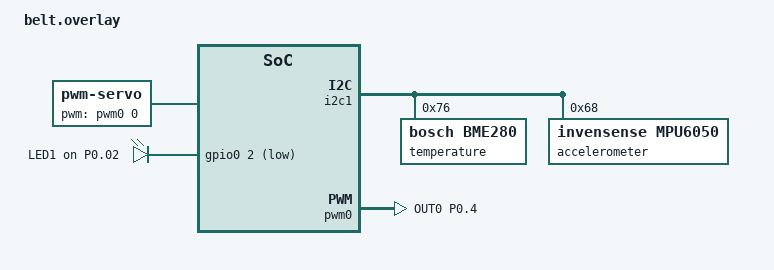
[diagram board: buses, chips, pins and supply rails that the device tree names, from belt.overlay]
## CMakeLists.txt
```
# SPDX-License-Identifier: Apache-2.0

cmake_minimum_required(VERSION 3.20.0)
find_package(Zephyr REQUIRED HINTS $ENV{ZEPHYR_BASE})
project(HACKATHON)

# Include directory
target_include_directories(app PRIVATE ${CMAKE_CURRENT_SOURCE_DIR}/includes)

# Add your include directory
zephyr_include_directories(${CMAKE_CURRENT_SOURCE_DIR}/includes)

FILE(GLOB app_sources src/*.c)
target_sources(app PRIVATE ${app_sources})
```

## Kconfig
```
# Copyright (c) 2020, Nordic Semiconductor ASA
# SPDX-License-Identifier: Apache-2.0

config LOG
	default y

config LOG_PRINTK
	default y

config SENSOR_LOG_LEVEL
	default 4

# Enable SPI and I2C support by default so that the sample works with
# the device connected either way. These defaults can be overridden if
# needed.
config SPI
	default y

config I2C
	default y

# ═══════════════════════════════════════════════════════════════
# MQTT Settings
# ═══════════════════════════════════════════════════════════════
menu "MQTT Settings"

config MQTT_SAMPLE_BROKER_HOSTNAME
	string "MQTT broker hostname"
	default "broker.hivemq.com"

config MQTT_SAMPLE_PUB_TOPIC
	string "MQTT publish topic"
	default "nrfbelt/sensors"

config MQTT_SAMPLE_SUB_TOPIC
	string "MQTT subscribe topic"
	default "nrfbelt/commands"

config MQTT_CLIENT_ID
	string "MQTT Client ID"
	default "nrf7002-belt"

endmenu

source "Kconfig.zephyr"
```

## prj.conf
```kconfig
# ═══════════════════════════════════════════════════════════════
# nRF7002 DK - WiFi + MQTT (No TLS) + Sensors
# ═══════════════════════════════════════════════════════════════

# WiFi
CONFIG_WIFI=y
CONFIG_WIFI_NM_WPA_SUPPLICANT=y
CONFIG_NRF70_RX_NUM_BUFS=16
CONFIG_NRF70_MAX_TX_AGGREGATION=4

# WiFi Credentials
CONFIG_WIFI_CREDENTIALS=y
CONFIG_WIFI_CREDENTIALS_STATIC=y
CONFIG_WIFI_CREDENTIALS_STATIC_SSID="NRF"
CONFIG_WIFI_CREDENTIALS_STATIC_PASSWORD="123456789"

# Network Management
CONFIG_NET_MGMT=y
CONFIG_NET_MGMT_EVENT=y
CONFIG_NET_MGMT_EVENT_INFO=y

# Connection Manager
CONFIG_NET_CONNECTION_MANAGER=y
CONFIG_NET_CONNECTION_MANAGER_MONITOR_STACK_SIZE=5200
CONFIG_L2_WIFI_CONNECTIVITY=y

# Networking
CONFIG_NETWORKING=y
CONFIG_NET_SOCKETS=y
CONFIG_NET_L2_ETHERNET=y
CONFIG_NET_IPV4=y
CONFIG_NET_IPV6=n
CONFIG_NET_TCP=y
CONFIG_NET_DHCPV4=y
CONFIG_DNS_RESOLVER=y

# Network Buffers
CONFIG_NET_PKT_RX_COUNT=8
CONFIG_NET_PKT_TX_COUNT=8
CONFIG_NET_BUF_RX_COUNT=16
CONFIG_NET_BUF_TX_COUNT=16
CONFIG_NET_MAX_CONTEXTS=6

# MQTT Helper (No TLS)
CONFIG_MQTT_HELPER=y
CONFIG_MQTT_CLEAN_SESSION=y
CONFIG_MQTT_HELPER_PORT=1883

# MQTT Topics
CONFIG_MQTT_SAMPLE_BROKER_HOSTNAME="broker.hivemq.com"
CONFIG_MQTT_SAMPLE_PUB_TOPIC="nrfbelt/sensors"
CONFIG_MQTT_SAMPLE_SUB_TOPIC="nrfbelt/commands"

# Sensors
CONFIG_SENSOR=y
CONFIG_I2C=y
CONFIG_BME280=y
CONFIG_MPU6050=y

# GPIO & PWM
CONFIG_GPIO=y
CONFIG_PWM=y

# LED Driver
CONFIG_LED=y
CONFIG_LED_GPIO=y

# Logging
CONFIG_LOG=y
CONFIG_LOG_MODE_IMMEDIATE=y

# Serial Console
CONFIG_SERIAL=y
CONFIG_UART_CONSOLE=y
CONFIG_PRINTK=y
CONFIG_STDOUT_CONSOLE=y

# Memory & Stack
CONFIG_MAIN_STACK_SIZE=5200
CONFIG_SYSTEM_WORKQUEUE_STACK_SIZE=4096
CONFIG_HEAP_MEM_POOL_SIZE=100000

# System
CONFIG_NEWLIB_LIBC=y
CONFIG_NEWLIB_LIBC_NANO=n
CONFIG_CBPRINTF_FP_SUPPORT=y
```

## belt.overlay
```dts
&i2c1 {
    status = "okay";

    pinctrl-0 = <&i2c1_default>;
	pinctrl-1 = <&i2c1_sleep>;
    pinctrl-names = "default", "sleep";

    /*Adding Temperature sensor to Device tree */
    temperature: temperature@76{
        compatible = "bosch,bme280";
        status = "okay";
        reg = < 0x76>;
    };

    /*Adding Accelorometer to Device Tree */
    accelerometer: accelerometer@68{
        compatible = "invensense,mpu6050";
        status = "okay";
        reg = < 0x68>;
        
        // accel-fs = <4>;       /* ±4g */
        // gyro-fs = <500>;      /* ±500°/s */
        // smplrt-div = <7>;     /* Sample rate = 1kHz/(1+7) = 125Hz */
    };
};

/ {
	aliases {
		pwm-servo0 = &servo;
		sw0 = &button0;
		led0 = &led1_pin;
	};

	servo: servo {
		compatible = "pwm-servo";
		pwms = <&pwm0 0 PWM_MSEC(20) PWM_POLARITY_NORMAL>;
		min-pulse = <PWM_USEC(700)>;
		max-pulse = <PWM_USEC(2500)>;
	};

	my_led {
		compatible = "gpio-leds";
		status = "okay";
		led1_pin: led1_pin {
			gpios = <&gpio0 2 GPIO_ACTIVE_LOW>;
			label = "LED1 on P0.02";
		};
	};
};

&pwm0 {
	status = "okay";
	pinctrl-0 = <&pwm0_default>;
	pinctrl-1 = <&pwm0_sleep>;
	pinctrl-names = "default", "sleep";
};

&pinctrl {
	pwm0_default: pwm0_default {
		group1 {
			psels = <NRF_PSEL(PWM_OUT0, 0, 4)>;
		};
	};

	pwm0_sleep: pwm0_sleep {
		group1 {
			psels = <NRF_PSEL(PWM_OUT0, 0, 4)>;
			low-power-enable;
		};
	};
};
```

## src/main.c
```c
// /* Main file to run the application*/

// # include "common.h"


// int main()
// {
//     startBMESensor();
//     startMPU6050Sensor();
//     return 0;
// }
#include "app_common.h"

K_THREAD_STACK_DEFINE(bme_stack, BME280_STACK_SIZE);
K_THREAD_STACK_DEFINE(mpu_stack, MPU6050_STACK_SIZE);
K_THREAD_STACK_DEFINE(mqtt_stack, MQTT_STACK_SIZE);
K_THREAD_STACK_DEFINE(accuator_stack, ACTUATOR_STACK_SIZE);

/* Thread objects */
struct k_thread bme_thread;
struct k_thread mpu_thread;
struct k_thread mqtt_thread;
struct k_thread accuator_thread;

struct k_thread logger_thread;

/* Mutex for protecting shared data */
struct k_mutex data_mutex;
struct k_mutex actuator_mutex;

SensorData_t shared_sensor_data;
ActuatorData_t shared_actuator_data;

int main(void)
{
    printk("=== Sensor Tasks Starting ===\n");

    k_mutex_init(&data_mutex);
    k_mutex_init(&actuator_mutex);
    

    k_thread_create(&mqtt_thread,
                    mqtt_stack,
                    K_THREAD_STACK_SIZEOF(mqtt_stack),
                    mqtt_task,
                    NULL, NULL, NULL,
                    MQTT_PRIORITY, 0, K_NO_WAIT);

    k_thread_create(&bme_thread,
                    bme_stack,
                    K_THREAD_STACK_SIZEOF(bme_stack),
                    bme280_task,
                    NULL, NULL, NULL,
                    BME280_PRIORITY, 0, K_NO_WAIT);

    k_thread_create(&mpu_thread,
                    mpu_stack,
                    K_THREAD_STACK_SIZEOF(mpu_stack),
                    mpu6050_task,
                    NULL, NULL, NULL,
                    MPU6050_PRIORITY, 0, K_NO_WAIT); 
    
    k_thread_create(&accuator_thread,
                    accuator_stack,
                    K_THREAD_STACK_SIZEOF(accuator_stack),
                    actuator_task,
                    NULL, NULL, NULL,
                    ACTUATOR_PRIORITY, 0, K_NO_WAIT); 
        
    

    return 0;
}
```

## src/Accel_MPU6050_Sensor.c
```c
// #include <zephyr/kernel.h>
// #include <zephyr/device.h>
// #include <zephyr/drivers/sensor.h>
#include "app_common.h"
#include "Accel_MPU6050.h"

SensorData_t imu_data;


void mpu6050_task(void *p1, void *p2, void *p3)
{
    const struct device *imu = DEVICE_DT_GET_ANY(invensense_mpu6050);
    struct sensor_value accel[3], gyro[3];

    if (!device_is_ready(imu)) {
        printk("MPU6050 not ready\n");
        return;
    }

    while (1) {

        sensor_sample_fetch(imu);
        sensor_channel_get(imu, SENSOR_CHAN_ACCEL_XYZ, accel);
        sensor_channel_get(imu, SENSOR_CHAN_GYRO_XYZ, gyro);

        imu_data.accel_x = sensor_value_to_double(&accel[0]);
        // printk("MPU6050 Accel X: %.2f m/s²\n", imu_data.accel_x);
        imu_data.accel_y = sensor_value_to_double(&accel[1]);
        // printk("MPU6050 Accel Y: %.2f m/s²\n", imu_data.accel_y);
        imu_data.accel_z = sensor_value_to_double(&accel[2]);
        // printk("MPU6050 Accel Z: %.2f m/s²\n", imu_data.accel_z);

         float magnitude = 0.0;
         magnitude = sqrt(imu_data.accel_x * imu_data.accel_x +
                          imu_data.accel_y * imu_data.accel_y +
                          imu_data.accel_z * imu_data.accel_z);
         imu_data.accel_magnitude = magnitude;
        //  printk("MPU6050 Accel Magnitude: %.2f m/s²\n", imu_data.accel_magnitude);
        
        imu_data.gyro_x = sensor_value_to_double(&gyro[0]);
        // printk("MPU6050 Gyro X: %.2f dps\n", imu_data.gyro_x);
        imu_data.gyro_y = sensor_value_to_double(&gyro[1]);
        // printk("MPU6050 Gyro Y: %.2f dps\n", imu_data.gyro_y);
        imu_data.gyro_z = sensor_value_to_double(&gyro[2]);
        // printk("MPU6050 Gyro Z: %.2f dps\n", imu_data.gyro_z);
        
        k_mutex_lock(&data_mutex, K_FOREVER);
        shared_sensor_data.accel_x = imu_data.accel_x;
        shared_sensor_data.accel_y = imu_data.accel_y;
        shared_sensor_data.accel_z = imu_data.accel_z;
        k_mutex_unlock(&data_mutex);

        k_sleep(K_MSEC(50));  /* 20 Hz */
    }
}
```

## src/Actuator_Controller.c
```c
// // // /** Try all LED aliases; skip ones that don't exist */

// // // #include "app_common.h"
// // // #include "Accuator.h"

// // // static const struct gpio_dt_spec led0 = GPIO_DT_SPEC_GET_OR(DT_ALIAS(led0), gpios, {0});
// // // static const struct gpio_dt_spec led1 = GPIO_DT_SPEC_GET_OR(DT_ALIAS(led1), gpios, {0});
// // // static const struct gpio_dt_spec led2 = GPIO_DT_SPEC_GET_OR(DT_ALIAS(led2), gpios, {0});
// // // static const struct gpio_dt_spec led3 = GPIO_DT_SPEC_GET_OR(DT_ALIAS(led3), gpios, {0});


// // // static void led_init_and_on(const struct gpio_dt_spec *led, const char *name)
// // // {
// // // 	if (!led->port) {
// // // 		printk("%s alias not found\n", name);
// // // 		return;
// // // 	}
// // // 	if (!device_is_ready(led->port)) {
// // // 		printk("%s port not ready\n", name);
// // // 		return;
// // // 	}
// // // 	int ret = gpio_pin_configure_dt(led, GPIO_OUTPUT_INACTIVE);
// // // 	printk("%s configure ret=%d\n", name, ret);
// // // 	gpio_pin_set_dt(led, 1); /* turn on */
// // // }

// // // static void led_off_safe(const struct gpio_dt_spec *led)
// // // {
// // // 	if (led->port) {
// // // 		gpio_pin_set_dt(led, 0);
// // // 	}
// // // }

// // // int main(void)
// // // {
// // // 	printk("=== ALL LED ON + SERVO TEST ===\n");

// // // 	/* 1) Turn ON all LEDs we can find */

	

// // // 	/* 2) Setup button (active-low typical on Nordic DKs) */
// // // 	if (device_is_ready(button.port)) {
// // // 		gpio_pin_configure_dt(&button, GPIO_INPUT | GPIO_PULL_UP);
// // // 	} else {
// // // 		printk("button port not ready\n");
// // // 	}

// // // 	/* 3) Setup servo */
// // // 	if (!device_is_ready(servo.dev)) {
// // // 		printk("servo dev not ready\n");
// // // 	} else {
// // // 		pwm_set_pulse_dt(&servo, min_pulse);
// // // 	}

// // // 	/* 4) Main loop: button controls servo; LEDs stay ON */
// // // 	while (1) {
// // // 		bool pressed = false;

// // // 		if (device_is_ready(button.port)) {
// // // 			pressed = (gpio_pin_get_dt(&button) == 0);
// // // 		}

// // // 		if (pressed) {
// // // 			/* Move servo to mid (~90°) */
// // // 			if (device_is_ready(servo.dev)) {
// // // 				pwm_set_pulse_dt(&servo, (min_pulse + max_pulse) / 2);
// // // 				gpio_pin_set_dt(&led1, 0);
// // // 			}
// // // 		} else {
// // // 			/* Move servo back to min (~0°) */
// // // 			if (device_is_ready(servo.dev)) {
// // // 				pwm_set_pulse_dt(&servo, min_pulse);
// // // 				led_init_and_on(&led1, "led1");
// // // 			}
// // // 		}

// // // 		k_msleep(50);
// // // 	}

// // // 	/* not reached, but safe cleanup style */
// // // 	led_off_safe(&led0);
// // // 	led_off_safe(&led1);
// // // 	led_off_safe(&led2);
// // // 	led_off_safe(&led3);

// // // 	return 0;
// // // }
// // #include <zephyr/kernel.h>
// // #include <zephyr/drivers/gpio.h>
// // #include <zephyr/drivers/pwm.h>
// // #include <zephyr/logging/log.h>
// // #include "app_common.h"

// // LOG_MODULE_REGISTER(actuator, LOG_LEVEL_INF);

// // /* ══════════════════════════════════════════════════════════════
// //    HARDWARE DEFINITIONS - LOCAL TO THIS FILE ONLY
// //    ══════════════════════════════════════════════════════════════ */

// // /* LEDs */
// // static const struct gpio_dt_spec led0 = GPIO_DT_SPEC_GET_OR(DT_ALIAS(led0), gpios, {0});
// // static const struct gpio_dt_spec led1 = GPIO_DT_SPEC_GET_OR(DT_ALIAS(led1), gpios, {0});

// // /* Button */
// // #define BUTTON_NODE DT_ALIAS(sw0)
// // #if DT_NODE_EXISTS(BUTTON_NODE)
// // static const struct gpio_dt_spec button = GPIO_DT_SPEC_GET(BUTTON_NODE, gpios);
// // #endif

// // /* Servo PWM */
// // #define SERVO_NODE DT_NODELABEL(servo)
// // #if DT_NODE_EXISTS(SERVO_NODE)
// // static const struct pwm_dt_spec servo = PWM_DT_SPEC_GET(SERVO_NODE);
// // static const uint32_t min_pulse = PWM_USEC(700);
// // static const uint32_t max_pulse = PWM_USEC(2500);
// // #endif

// // /* ══════════════════════════════════════════════════════════════
// //    HELPER FUNCTIONS
// //    ══════════════════════════════════════════════════════════════ */

// // static void led_init(const struct gpio_dt_spec *led, const char *name)
// // {
// //     if (!led->port) {
// //         LOG_WRN("%s alias not found", name);
// //         return;
// //     }
// //     if (!device_is_ready(led->port)) {
// //         LOG_ERR("%s port not ready", name);
// //         return;
// //     }
// //     gpio_pin_configure_dt(led, GPIO_OUTPUT_INACTIVE);
// //     LOG_INF("%s initialized", name);
// // }

// // /* ══════════════════════════════════════════════════════════════
// //    ACTUATOR TASK
// //    ══════════════════════════════════════════════════════════════ */

// // void actuator_task(void *p1, void *p2, void *p3)
// // {
// //     LOG_INF("Actuator task started");

// //     /* Initialize LEDs */
// //     led_init(&led0, "led0");
// //     led_init(&led1, "led1");

// //     /* Initialize Button */
// // #if DT_NODE_EXISTS(BUTTON_NODE)
// //     if (device_is_ready(button.port)) {
// //         gpio_pin_configure_dt(&button, GPIO_INPUT);
// //         LOG_INF("Button initialized");
// //     }
// // #endif

// //     /* Initialize Servo */
// // #if DT_NODE_EXISTS(SERVO_NODE)
// //     if (!pwm_is_ready_dt(&servo)) {
// //         LOG_ERR("Servo PWM not ready");
// //     } else {
// //         pwm_set_pulse_dt(&servo, min_pulse);
// //         LOG_INF("Servo initialized");
// //     }
// // #endif

// //     ActuatorData_t local = {0};
// //     ActuatorData_t prev = {0};

// //     while (1) {
// //         /* Get actuator commands with mutex */
// //         k_mutex_lock(&actuator_mutex, K_FOREVER);
// //         memcpy(&local, &shared_actuator_data, sizeof(local));
// //         k_mutex_unlock(&actuator_mutex);

// //         /* LED Control */
// //         if (led0.port && local.ledON != prev.ledON) {
// //             gpio_pin_set_dt(&led0, local.ledON ? 1 : 0);
// //             LOG_INF("LED: %s", local.ledON ? "ON" : "OFF");
// //         }

// //         /* Servo/Motor Control */
// // #if DT_NODE_EXISTS(SERVO_NODE)
// //         if (pwm_is_ready_dt(&servo) && local.motorVibrate != prev.motorVibrate) {
// //             if (local.motorVibrate) {
// //                 pwm_set_pulse_dt(&servo, max_pulse);
// //                 LOG_INF("SERVO: MAX");
// //             } else {
// //                 pwm_set_pulse_dt(&servo, min_pulse);
// //                 LOG_INF("SERVO: MIN");
// //             }
// //         }
// // #endif

// //         /* Buzzer Control */
// //         if (local.buzzerON != prev.buzzerON) {
// //             LOG_INF("BUZZER: %s", local.buzzerON ? "ON" : "OFF");
// //         }

// //         memcpy(&prev, &local, sizeof(prev));
// //         k_msleep(50);
// //     }
// // }
// #include <zephyr/kernel.h>
// #include <zephyr/drivers/gpio.h>
// #include <zephyr/drivers/pwm.h>
// #include <zephyr/logging/log.h>
// #include "app_common.h"

// LOG_MODULE_REGISTER(actuator, LOG_LEVEL_INF);

// /* ══════════════════════════════════════════════════════════════
//    HARDWARE DEFINITIONS - LOCAL TO THIS FILE ONLY
//    ══════════════════════════════════════════════════════════════ */

// /* LEDs */
// static const struct gpio_dt_spec led0 = GPIO_DT_SPEC_GET_OR(DT_ALIAS(led0), gpios, {0});
// static const struct gpio_dt_spec led1 = GPIO_DT_SPEC_GET_OR(DT_ALIAS(led1), gpios, {0});

// /* Button */
// #define BUTTON_NODE DT_ALIAS(sw0)
// #if DT_NODE_EXISTS(BUTTON_NODE)
// static const struct gpio_dt_spec button = GPIO_DT_SPEC_GET(BUTTON_NODE, gpios);
// #endif

// /* Servo PWM - with center position for ±90° */
// #define SERVO_NODE DT_NODELABEL(servo)
// #if DT_NODE_EXISTS(SERVO_NODE)
// static const struct pwm_dt_spec servo = PWM_DT_SPEC_GET(SERVO_NODE);
// static const uint32_t min_pulse = PWM_USEC(700);    // 0° position
// static const uint32_t center_pulse = PWM_USEC(1500); // 90° center position
// static const uint32_t max_pulse = PWM_USEC(2500);   // 180° position
// #endif

// /* ══════════════════════════════════════════════════════════════
//    HELPER FUNCTIONS
//    ══════════════════════════════════════════════════════════════ */

// static void led_init(const struct gpio_dt_spec *led, const char *name)
// {
//     if (!led->port) {
//         LOG_WRN("%s alias not found", name);
//         return;
//     }
//     if (!device_is_ready(led->port)) {
//         LOG_ERR("%s port not ready", name);
//         return;
//     }
//     gpio_pin_configure_dt(led, GPIO_OUTPUT_INACTIVE);
//     LOG_INF("%s initialized", name);
// }

// /* ══════════════════════════════════════════════════════════════
//    ACTUATOR TASK
//    ══════════════════════════════════════════════════════════════ */

// void actuator_task(void *p1, void *p2, void *p3)
// {
//     LOG_INF("Actuator task started");

//     /* Initialize LEDs */
//     led_init(&led0, "led0");
//     led_init(&led1, "led1");

//     /* Initialize Button */
// #if DT_NODE_EXISTS(BUTTON_NODE)
//     if (device_is_ready(button.port)) {
//         gpio_pin_configure_dt(&button, GPIO_INPUT);
//         LOG_INF("Button initialized");
//     }
// #endif

//     /* Initialize Servo */
// #if DT_NODE_EXISTS(SERVO_NODE)
//     if (!pwm_is_ready_dt(&servo)) {
//         LOG_ERR("Servo PWM not ready");
//     } else {
//         pwm_set_pulse_dt(&servo, center_pulse);
//         LOG_INF("Servo initialized at center (90°)");
//     }
// #endif

//     ActuatorData_t local = {0};
//     ActuatorData_t prev = {0};

//     while (1) {
//         /* Get actuator commands with mutex */
//         k_mutex_lock(&actuator_mutex, K_FOREVER);
//         memcpy(&local, &shared_actuator_data, sizeof(local));
//         k_mutex_unlock(&actuator_mutex);

//         /* LED Control */
//         if (led0.port && local.ledON != prev.ledON) {
//             gpio_pin_set_dt(&led0, local.ledON ? 1 : 0);
//             LOG_INF("LED: %s", local.ledON ? "ON" : "OFF");
//         }

//         /* Servo/Motor Control - Toggle ±90° from center */
// #if DT_NODE_EXISTS(SERVO_NODE)
//         if (pwm_is_ready_dt(&servo) && local.motorVibrate != prev.motorVibrate) {
//             if (local.motorVibrate) {
//                 pwm_set_pulse_dt(&servo, max_pulse);
//                 LOG_INF("SERVO: 180° (+90° from center)");
//             } else {
//                 pwm_set_pulse_dt(&servo, min_pulse);
//                 LOG_INF("SERVO: 0° (-90° from center)");
//             }
//         }
// #endif

//         /* Buzzer Control */
//         if (local.buzzerON != prev.buzzerON) {
//             LOG_INF("BUZZER: %s", local.buzzerON ? "ON" : "OFF");
//         }

//         memcpy(&prev, &local, sizeof(prev));
//         k_msleep(50);
//     }
// }
#include <zephyr/kernel.h>
#include <zephyr/drivers/gpio.h>
#include <zephyr/drivers/pwm.h>
#include <zephyr/logging/log.h>
#include "app_common.h"

LOG_MODULE_REGISTER(actuator, LOG_LEVEL_INF);

/* ══════════════════════════════════════════════════════════════
   HARDWARE DEFINITIONS - LOCAL TO THIS FILE ONLY
   ══════════════════════════════════════════════════════════════ */

/* LEDs */
static const struct gpio_dt_spec led0 = GPIO_DT_SPEC_GET_OR(DT_ALIAS(led0), gpios, {0});
static const struct gpio_dt_spec led1 = GPIO_DT_SPEC_GET_OR(DT_ALIAS(led1), gpios, {0});

/* Button */
#define BUTTON_NODE DT_ALIAS(sw0)
#if DT_NODE_EXISTS(BUTTON_NODE)
static const struct gpio_dt_spec button = GPIO_DT_SPEC_GET(BUTTON_NODE, gpios);
#endif

/* Servo PWM - with center position for ±90° */
#define SERVO_NODE DT_NODELABEL(servo)
#if DT_NODE_EXISTS(SERVO_NODE)
static const struct pwm_dt_spec servo = PWM_DT_SPEC_GET(SERVO_NODE);
static const uint32_t min_pulse = PWM_USEC(700);    // 0° position
static const uint32_t center_pulse = PWM_USEC(1500); // 90° center position
static const uint32_t max_pulse = PWM_USEC(2500);   // 180° position
#endif

/* ══════════════════════════════════════════════════════════════
   HELPER FUNCTIONS
   ══════════════════════════════════════════════════════════════ */

static void led_init(const struct gpio_dt_spec *led, const char *name)
{
    if (!led->port) {
        LOG_WRN("%s alias not found", name);
        return;
    }
    if (!device_is_ready(led->port)) {
        LOG_ERR("%s port not ready", name);
        return;
    }
    gpio_pin_configure_dt(led, GPIO_OUTPUT_INACTIVE);
    LOG_INF("%s initialized", name);
}

/* ══════════════════════════════════════════════════════════════
   SERVO FULL MOTION - Multiple Complete Swings
   ══════════════════════════════════════════════════════════════ */
static void servo_full_motion_clockwise(const struct pwm_dt_spec *servo)
{
    if (!pwm_is_ready_dt(servo)) {
        return;
    }

    LOG_INF("━━━━━━━━━━━━━━━━━━━━━━━━━━━━━━━━━━━━━━━━");
    LOG_INF("  FULL CLOCKWISE MOTION - 4 COMPLETE SWINGS");
    LOG_INF("━━━━━━━━━━━━━━━━━━━━━━━━━━━━━━━━━━━━━━━━");
    
    for (int i = 0; i < 4; i++) {
        LOG_INF("→ Swing %d/4: 0° → 180°", i + 1);
        pwm_set_pulse_dt(servo, min_pulse);
        k_msleep(300);
        pwm_set_pulse_dt(servo, max_pulse);
        k_msleep(300);
    }
    
    // End at max position
    pwm_set_pulse_dt(servo, max_pulse);
    LOG_INF("✓ Clockwise motion complete - at 180°");
}

static void servo_full_motion_counterclockwise(const struct pwm_dt_spec *servo)
{
    if (!pwm_is_ready_dt(servo)) {
        return;
    }

    LOG_INF("━━━━━━━━━━━━━━━━━━━━━━━━━━━━━━━━━━━━━━━━");
    LOG_INF("  FULL COUNTER-CLOCKWISE MOTION - 4 COMPLETE SWINGS");
    LOG_INF("━━━━━━━━━━━━━━━━━━━━━━━━━━━━━━━━━━━━━━━━");
    
    for (int i = 0; i < 4; i++) {
        LOG_INF("← Swing %d/4: 180° → 0°", i + 1);
        pwm_set_pulse_dt(servo, max_pulse);
        k_msleep(300);
        pwm_set_pulse_dt(servo, min_pulse);
        k_msleep(300);
    }
    
    // End at min position
    pwm_set_pulse_dt(servo, min_pulse);
    LOG_INF("✓ Counter-clockwise motion complete - at 0°");
}

/* ══════════════════════════════════════════════════════════════
   ACTUATOR TASK - WITH FULL MOTION
   ══════════════════════════════════════════════════════════════ */

void actuator_task(void *p1, void *p2, void *p3)
{
    LOG_INF("Actuator task started");

    /* Initialize LEDs */
    led_init(&led0, "led0");
    led_init(&led1, "led1");

    /* Initialize Button */
#if DT_NODE_EXISTS(BUTTON_NODE)
    if (device_is_ready(button.port)) {
        gpio_pin_configure_dt(&button, GPIO_INPUT);
        LOG_INF("Button initialized");
    }
#endif

    /* Initialize Servo */
#if DT_NODE_EXISTS(SERVO_NODE)
    if (!pwm_is_ready_dt(&servo)) {
        LOG_ERR("Servo PWM not ready");
    } else {
        pwm_set_pulse_dt(&servo, center_pulse);
        LOG_INF("Servo initialized at center (90°)");
    }
#endif

    ActuatorData_t local = {0};
    ActuatorData_t prev = {0};

    while (1) {
        /* Get actuator commands with mutex */
        k_mutex_lock(&actuator_mutex, K_FOREVER);
        memcpy(&local, &shared_actuator_data, sizeof(local));
        k_mutex_unlock(&actuator_mutex);

        /* LED Control */
        if (led0.port && local.ledON != prev.ledON) {
            gpio_pin_set_dt(&led0, local.ledON ? 1 : 0);
            LOG_INF("LED: %s", local.ledON ? "ON" : "OFF");
        }

        /* Servo/Motor Control - FULL MOTION */
#if DT_NODE_EXISTS(SERVO_NODE)
        if (pwm_is_ready_dt(&servo) && local.motorVibrate != prev.motorVibrate) {
            if (local.motorVibrate) {
                // MOTOR_ON: Full clockwise motion (simulate +360°)
                servo_full_motion_clockwise(&servo);
            } else {
                // MOTOR_OFF: Full counter-clockwise motion (simulate -360°)
                servo_full_motion_counterclockwise(&servo);
            }
        }
#endif

        /* Buzzer Control */
        if (local.buzzerON != prev.buzzerON) {
            LOG_INF("BUZZER: %s", local.buzzerON ? "ON" : "OFF");
        }

        memcpy(&prev, &local, sizeof(prev));
        k_msleep(50);
    }
}
```

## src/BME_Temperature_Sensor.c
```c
#include "app_common.h"

SensorData_t  bme_data;


void bme280_task(void *p1, void *p2, void *p3)
{
    const struct device *bme = DEVICE_DT_GET_ANY(bosch_bme280);

    if (!device_is_ready(bme)) {
        printk("BME280 not ready\n");
        return;
    }

    while (1) {
        struct sensor_value temp, press, hum;

        sensor_sample_fetch(bme);
        sensor_channel_get(bme, SENSOR_CHAN_AMBIENT_TEMP, &temp);
        sensor_channel_get(bme, SENSOR_CHAN_PRESS, &press);
        sensor_channel_get(bme, SENSOR_CHAN_HUMIDITY, &hum);

        bme_data.temperature = sensor_value_to_double(&temp);
        // printk("BME280 Temperature: %.2f C\n", bme_data.temperature);
        bme_data.pressure    = sensor_value_to_double(&press);
        // printk("BME280 Pressure: %.2f hPa\n", bme_data.pressure / 100.0);
        bme_data.humidity    = sensor_value_to_double(&hum);
        // printk("BME280 Humidity: %.2f %%\n", bme_data.humidity);
        
        k_mutex_lock(&data_mutex, K_FOREVER);
        shared_sensor_data.temperature = bme_data.temperature;
        shared_sensor_data.pressure    = bme_data.pressure;
        shared_sensor_data.humidity    = bme_data.humidity;
        k_mutex_unlock(&data_mutex);

        k_sleep(K_SECONDS(1));
    }
}
```

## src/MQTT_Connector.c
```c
#include "MQTT_Connector.h"
#include "app_common.h"
#include <net/mqtt_helper.h>
#include <zephyr/random/random.h>

LOG_MODULE_REGISTER(wifi_mqtt, LOG_LEVEL_INF);

/* ═══════════════════════════════════════════════════════════════════════════
   VARIABLES
   ═══════════════════════════════════════════════════════════════════════════ */
static bool wifi_connected;
static bool mqtt_connected;

static struct net_mgmt_event_callback mgmt_cb;
static K_SEM_DEFINE(wifi_connected_sem, 0, 1);

static uint8_t client_id[32];

#define SUBSCRIBE_TOPIC_ID 1234


/* ═══════════════════════════════════════════════════════════════════════════
   COMMAND HANDLER
   ═══════════════════════════════════════════════════════════════════════════ */
static void handle_command(const char *cmd, size_t len)
{
    LOG_INF("CMD Received: %.*s", (int)len, cmd);

    /* Lock mutex before updating shared actuator data */
    k_mutex_lock(&actuator_mutex, K_FOREVER);

    if (strncmp(cmd, "LED_ON", 6) == 0) {
        shared_actuator_data.ledON = true;
        LOG_INF("LED ON command set");
    } 
    else if (strncmp(cmd, "LED_OFF", 7) == 0) {
        shared_actuator_data.ledON = false;
        LOG_INF("LED OFF command set");
    }
    else if (strncmp(cmd, "MOTOR_ON", 8) == 0) {
        shared_actuator_data.motorVibrate = true;
        LOG_INF("MOTOR ON command set");
    }
    else if (strncmp(cmd, "MOTOR_OFF", 9) == 0) {
        shared_actuator_data.motorVibrate = false;
        LOG_INF("MOTOR OFF command set");
    }
    else if (strncmp(cmd, "BUZZER_ON", 9) == 0) {
        shared_actuator_data.buzzerON = true;
        LOG_INF("BUZZER ON command set");
    }
    else if (strncmp(cmd, "BUZZER_OFF", 10) == 0) {
        shared_actuator_data.buzzerON = false;
        LOG_INF("BUZZER OFF command set");
    }
    else {
        LOG_WRN("Unknown command: %.*s", (int)len, cmd);
    }

    k_mutex_unlock(&actuator_mutex);
}

/* ═══════════════════════════════════════════════════════════════════════════
   WIFI EVENTS
   ═══════════════════════════════════════════════════════════════════════════ */
#define EVENT_MASK (NET_EVENT_L4_CONNECTED | NET_EVENT_L4_DISCONNECTED)

static void net_mgmt_event_handler(struct net_mgmt_event_callback *cb,
                                   uint64_t mgmt_event, struct net_if *iface)
{
    if ((mgmt_event & EVENT_MASK) != mgmt_event) {
        return;
    }

    if (mgmt_event == NET_EVENT_L4_CONNECTED) {
        LOG_INF("Network connected");
        wifi_connected = true;
        k_sem_give(&wifi_connected_sem);
        return;
    }

    if (mgmt_event == NET_EVENT_L4_DISCONNECTED) {
        if (wifi_connected == false) {
            LOG_INF("Waiting for network to be connected");
        } else {
            LOG_INF("Network disconnected");
            wifi_connected = false;
            mqtt_connected = false;
            mqtt_helper_disconnect();
        }
        k_sem_reset(&wifi_connected_sem);
        return;
    }
}

/* ═══════════════════════════════════════════════════════════════════════════
   MQTT CALLBACKS
   ═══════════════════════════════════════════════════════════════════════════ */
static void subscribe(void)
{
    struct mqtt_topic subscribe_topic = {
        .topic = {
            .utf8 = CONFIG_MQTT_SAMPLE_SUB_TOPIC,
            .size = strlen(CONFIG_MQTT_SAMPLE_SUB_TOPIC)
        },
        .qos = MQTT_QOS_1_AT_LEAST_ONCE
    };

    struct mqtt_subscription_list subscription_list = {
        .list = &subscribe_topic,
        .list_count = 1,
        .message_id = SUBSCRIBE_TOPIC_ID
    };

    LOG_INF("Subscribing to %s", CONFIG_MQTT_SAMPLE_SUB_TOPIC);
    int err = mqtt_helper_subscribe(&subscription_list);
    if (err) {
        LOG_ERR("Failed to subscribe, error: %d", err);
    }
}

static void on_mqtt_connack(enum mqtt_conn_return_code return_code, bool session_present)
{
    if (return_code == MQTT_CONNECTION_ACCEPTED) {
        LOG_INF("MQTT: Connected to broker!");
        LOG_INF("  Broker: %s", CONFIG_MQTT_SAMPLE_BROKER_HOSTNAME);
        LOG_INF("  Client: %s", client_id);
        mqtt_connected = true;
        subscribe();
    } else {
        LOG_ERR("MQTT: Connection failed, code: %d", return_code);
    }
}

static void on_mqtt_disconnect(int result)
{
    LOG_INF("MQTT: Disconnected (%d)", result);
    mqtt_connected = false;
}

static void on_mqtt_publish(struct mqtt_helper_buf topic, struct mqtt_helper_buf payload)
{
    LOG_INF("MQTT RX: %.*s", payload.size, payload.ptr);
    handle_command(payload.ptr, payload.size);
}

static void on_mqtt_suback(uint16_t message_id, int result)
{
    if (result != MQTT_SUBACK_FAILURE) {
        LOG_INF("MQTT: Subscribed (QoS %d)", result);
    } else {
        LOG_ERR("MQTT: Subscribe failed");
    }
}

/* ═══════════════════════════════════════════════════════════════════════════
   PUBLISH FUNCTION
   ═══════════════════════════════════════════════════════════════════════════ */
static int mqtt_publish_msg(const char *payload)
{
    if (!mqtt_connected) {
        return -ENOTCONN;
    }

    struct mqtt_publish_param param = {
        .message.payload.data = (uint8_t *)payload,
        .message.payload.len = strlen(payload),
        .message.topic.qos = MQTT_QOS_0_AT_MOST_ONCE,
        .message_id = mqtt_helper_msg_id_get(),
        .message.topic.topic.utf8 = CONFIG_MQTT_SAMPLE_PUB_TOPIC,
        .message.topic.topic.size = strlen(CONFIG_MQTT_SAMPLE_PUB_TOPIC),
        .dup_flag = 0,
        .retain_flag = 0,
    };

    return mqtt_helper_publish(&param);
}


/* ═══════════════════════════════════════════════════════════════════════════
   MQTT TASK
   ═══════════════════════════════════════════════════════════════════════════ */
/* ═══════════════════════════════════════════════════════════════════════════
   MQTT TASK - With Retry Mechanism
   ═══════════════════════════════════════════════════════════════════════════ */
void mqtt_task(void *arg1, void *arg2, void *arg3)
{
    int err;
    int counter = 0;
    char msg[512];
    int mqtt_retry_count = 0;
    const int MAX_MQTT_RETRIES = 10;
    const int MQTT_RETRY_DELAY_MS = 5000;

    LOG_INF("════════════════════════════════════════");
    LOG_INF("  MQTT Task Started");
    LOG_INF("════════════════════════════════════════");

    /* Wait for WiFi driver init */
    k_sleep(K_SECONDS(1));

    /* Register network event callbacks */
    net_mgmt_init_event_callback(&mgmt_cb, net_mgmt_event_handler, EVENT_MASK);
    net_mgmt_add_event_callback(&mgmt_cb);

    /* WiFi auto-connect is enabled - just wait for connection */
    LOG_INF("Waiting for WiFi (auto-connect)...");
    k_sem_take(&wifi_connected_sem, K_FOREVER);
    
    LOG_INF("WiFi connected! Waiting for IP...");
    k_sleep(K_SECONDS(3));  /* Wait for DHCP */

    /* Initialize MQTT Helper */
    struct mqtt_helper_cfg config = {
        .cb = {
            .on_connack = on_mqtt_connack,
            .on_disconnect = on_mqtt_disconnect,
            .on_publish = on_mqtt_publish,
            .on_suback = on_mqtt_suback,
        },
    };

    err = mqtt_helper_init(&config);
    if (err) {
        LOG_ERR("MQTT helper init failed: %d", err);
        return;
    }
    LOG_INF("MQTT Helper initialized");

    /* Generate client ID */
    uint32_t id = sys_rand32_get();
    snprintf(client_id, sizeof(client_id), "nrf7002-belt-%08x", id);

    /* MQTT connection params */
    struct mqtt_helper_conn_params conn_params = {
        .hostname.ptr = CONFIG_MQTT_SAMPLE_BROKER_HOSTNAME,
        .hostname.size = strlen(CONFIG_MQTT_SAMPLE_BROKER_HOSTNAME),
        .device_id.ptr = client_id,
        .device_id.size = strlen(client_id),
    };

    /* ═══════════════════════════════════════════════════════════════════════
       MQTT CONNECT WITH RETRY
       ═══════════════════════════════════════════════════════════════════════ */
    while (!mqtt_connected && mqtt_retry_count < MAX_MQTT_RETRIES) {
        LOG_INF("Connecting to MQTT: %s (attempt %d/%d)", 
                CONFIG_MQTT_SAMPLE_BROKER_HOSTNAME,
                mqtt_retry_count + 1, 
                MAX_MQTT_RETRIES);
        
        err = mqtt_helper_connect(&conn_params);
        if (err) {
            LOG_ERR("MQTT connect request failed: %d", err);
            mqtt_retry_count++;
            LOG_INF("Retrying in %d seconds...", MQTT_RETRY_DELAY_MS / 1000);
            k_msleep(MQTT_RETRY_DELAY_MS);
            continue;
        }

        /* Wait for CONNACK */
        for (int i = 0; i < 100 && !mqtt_connected; i++) {
            k_msleep(100);
        }

        if (!mqtt_connected) {
            LOG_WRN("MQTT connection timeout, retrying...");
            mqtt_helper_disconnect();
            mqtt_retry_count++;
            k_msleep(MQTT_RETRY_DELAY_MS);
        }
    }

    if (!mqtt_connected) {
        LOG_ERR("MQTT connection failed after %d attempts!", MAX_MQTT_RETRIES);
        LOG_ERR("Continuing without MQTT - will retry in main loop");
    } else {
        LOG_INF("════════════════════════════════════════");
        LOG_INF("  MQTT Connected! Publishing Data");
        LOG_INF("  Topic: %s", CONFIG_MQTT_SAMPLE_PUB_TOPIC);
        LOG_INF("════════════════════════════════════════");
    }

    /* ═══════════════════════════════════════════════════════════════════════
       MAIN LOOP - With Reconnection
       ═══════════════════════════════════════════════════════════════════════ */
    while (1) {
        /* Check WiFi connection */
        if (!wifi_connected) {
            LOG_WRN("WiFi disconnected, waiting for reconnect...");
            k_sem_take(&wifi_connected_sem, K_FOREVER);
            LOG_INF("WiFi reconnected!");
            k_sleep(K_SECONDS(3));  /* Wait for DHCP */
            mqtt_connected = false;  /* Force MQTT reconnect */
        }

        /* Reconnect MQTT if disconnected */
        if (!mqtt_connected && wifi_connected) {
            LOG_INF("MQTT disconnected, reconnecting...");
            k_msleep(2000);
            
            err = mqtt_helper_connect(&conn_params);
            if (err) {
                LOG_ERR("MQTT reconnect failed: %d", err);
                k_msleep(MQTT_RETRY_DELAY_MS);
                continue;
            }

            /* Wait for CONNACK */
            for (int i = 0; i < 100 && !mqtt_connected; i++) {
                k_msleep(100);
            }

            if (mqtt_connected) {
                LOG_INF("MQTT reconnected!");
            }
            continue;
        }

        /* Publish sensor data */
        if (mqtt_connected) {
            /* Get sensor data with mutex protection */
            SensorData_t data;
            k_mutex_lock(&data_mutex, K_FOREVER);
            memcpy(&data, &shared_sensor_data, sizeof(data));
            k_mutex_unlock(&data_mutex);

            /* Format JSON with real sensor data */
            snprintf(msg, sizeof(msg),
                "{"
                "\"packetid\":%d,"
                "\"device\":\"nRF7002-Belt\","
                "\"temperature\":%.2f,"
                "\"humidity\":%.2f,"
                "\"pressure\":%.2f,"
                "\"accel_x\":%.2f,"
                "\"accel_y\":%.2f,"
                "\"accel_z\":%.2f,"
                "\"gyro_x\":%.2f,"
                "\"gyro_y\":%.2f,"
                "\"gyro_z\":%.2f,"
                "\"fall_detected\":%s"
                "}",
                counter++,
                data.temperature,
                data.humidity,
                data.pressure,
                data.accel_x,
                data.accel_y,
                data.accel_z,
                data.gyro_x,
                data.gyro_y,
                data.gyro_z,
                data.fall_detected ? "true" : "false"
            );

            err = mqtt_publish_msg(msg);
            if (err == 0) {
                LOG_INF("Published [%d]: T=%.1fC A=(%.1f,%.1f,%.1f)", 
                        counter - 1, 
                        data.temperature,
                        data.accel_x, data.accel_y, data.accel_z);
            } else {
                LOG_ERR("Publish failed (%d)", err);
                if (err == -ENOTCONN) {
                    mqtt_connected = false;  /* Trigger reconnect */
                }
            }
        }

        k_msleep(PUBLISH_INTERVAL_MS);
    }
}
```

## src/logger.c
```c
/* Logger_Task.c */

#include "app_common.h"

void logger_task(void *p1, void *p2, void *p3)
{
    while (1) {
        k_mutex_lock(&data_mutex, K_FOREVER);

        printk("\n--- SENSOR DATA ---\n");
        printk("BME280  | T: %.2f C  P: %.2f hPa  H: %.2f %%\n",
               shared_sensor_data.temperature,
               shared_sensor_data.pressure / 100.0,
               shared_sensor_data.humidity);

        // printk("MPU6050 | AX: %.2f AY: %.2f AZ: %.2f\n",
        //        shared_sensor_data.accel_x,
        //        shared_sensor_data.accel_y,
        //        shared_sensor_data.accel_z);

        // printk("        | GX: %.2f GY: %.2f GZ: %.2f\n",
        //        shared_sensor_data.gyro_x,
        //        shared_sensor_data.gyro_y,
        //        shared_sensor_data.gyro_z);

        k_mutex_unlock(&data_mutex);

        k_sleep(K_MSEC(2));
    }
}
```
